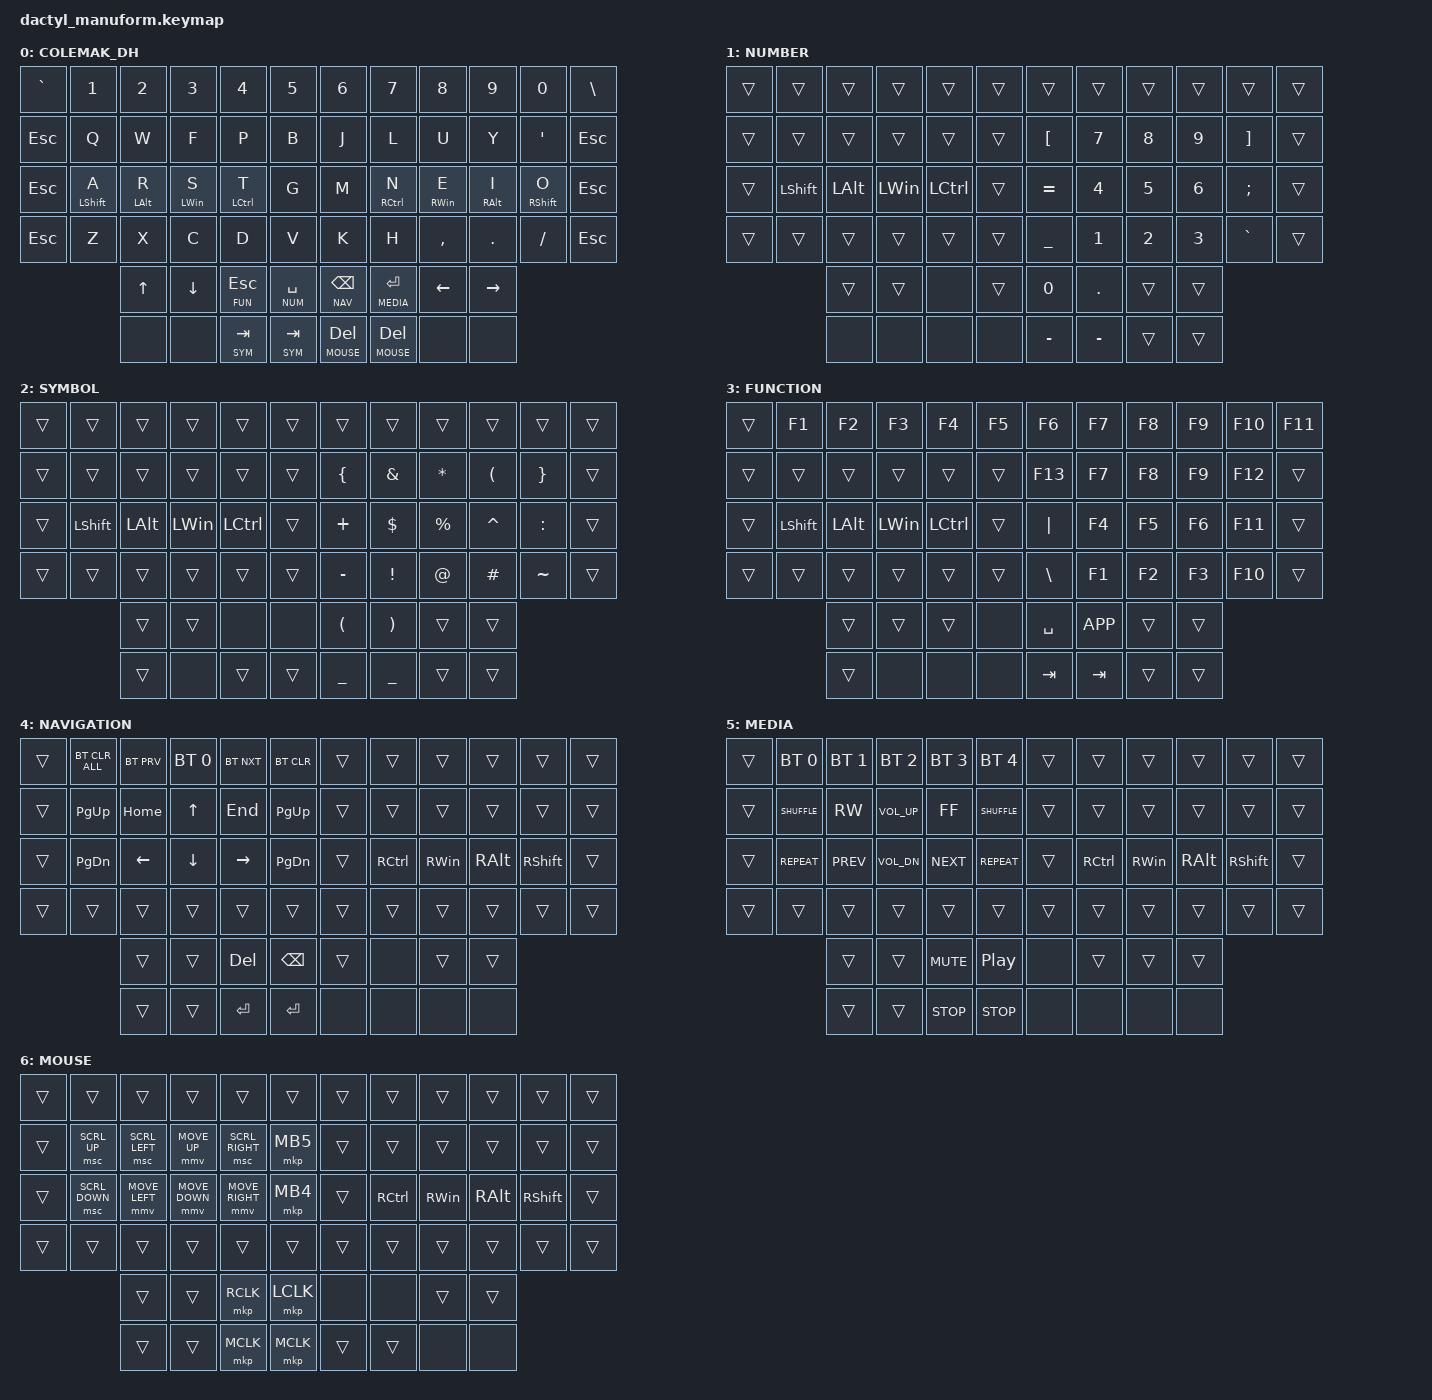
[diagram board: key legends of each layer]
#define ZMK_POINTING_DEFAULT_MOVE_VAL 1200
#define ZMK_POINTING_DEFAULT_SCRL_VAL 20

#include <behaviors.dtsi>
#include <dt-bindings/zmk/keys.h>
#include <dt-bindings/zmk/bt.h>
#include <dt-bindings/zmk/pointing.h>

#define BASE 0
#define NUM 1
#define SYM 2
#define FUN 3
#define NAV 4
#define MEDIA 5
#define MOUSE 6

&sl {
    release-after-ms = <5000>;
};

&kscan0 {
    debounce-press-ms = <30>;
    debounce-release-ms = <30>;
};

/ {
    behaviors {
        hm: homerow_mods {
            compatible = "zmk,behavior-hold-tap";
            #binding-cells = <2>;
            tapping-term-ms = <200>;
            flavor = "tap-preferred";
            bindings = <&kp>, <&kp>;
        };
    };

	keymap {
		compatible = "zmk,keymap";

		default_layer {
			display-name = "COLEMAK_DH";
			bindings = <
&kp GRAVE  &kp N1        &kp N2       &kp N3      &kp N4          &kp N5               &kp N6         &kp N7         &kp N8          &kp N9       &kp N0        &kp BSLH
&kp ESC    &kp Q         &kp W        &kp F       &kp P           &kp B                &kp J          &kp L          &kp U           &kp Y        &kp APOS      &kp ESC
&kp ESC    &hm LSHIFT A  &hm LALT R   &hm LWIN S  &hm LCTRL T     &kp G                &kp M          &hm RCTRL N    &hm RWIN E      &hm RALT I   &hm RSHIFT O  &kp ESC
&kp ESC    &kp Z         &kp X        &kp C       &kp D           &kp V                &kp K          &kp H          &kp COMMA       &kp DOT      &kp FSLH      &kp ESC
                         &kp UP       &kp DOWN    &lt FUN ESC     &lt NUM SPACE        &lt NAV BSPC   &lt MEDIA RET  &kp LEFT        &kp RIGHT
                         &none        &none       &lt SYM TAB     &lt SYM TAB          &lt MOUSE DEL  &lt MOUSE DEL  &none           &none
            >;
        };

		num_layer {
			display-name = "NUMBER";
			bindings = <
&trans  &trans      &trans     &trans    &trans    &trans           &trans     &trans     &trans   &trans  &trans     &trans
&trans  &trans      &trans     &trans    &trans    &trans           &kp LBKT   &kp N7     &kp N8   &kp N9  &kp RBKT   &trans
&trans  &kp LSHIFT  &kp LALT   &kp LWIN  &kp LCTRL &trans           &kp EQUAL  &kp N4     &kp N5   &kp N6  &kp SEMI   &trans
&trans  &trans      &trans     &trans    &trans    &trans           &kp UNDER  &kp N1     &kp N2   &kp N3  &kp GRAVE  &trans
                    &trans     &trans    &none     &trans           &kp N0     &kp DOT    &trans   &trans
                    &none      &none     &none     &none            &kp MINUS  &kp MINUS  &trans   &trans
			>;
		};

        sym_layer {
            display-name = "SYMBOL";
            bindings = <
&trans  &trans      &trans     &trans    &trans    &trans           &trans     &trans     &trans     &trans      &trans     &trans
&trans  &trans      &trans     &trans    &trans    &trans           &kp LBRC   &kp AMPS   &kp STAR   &kp LPAR    &kp RBRC   &trans
&trans  &kp LSHIFT  &kp LALT   &kp LWIN  &kp LCTRL &trans           &kp PLUS   &kp DLLR   &kp PRCNT  &kp CARET   &kp COLON  &trans
&trans  &trans      &trans     &trans    &trans    &trans           &kp MINUS  &kp EXCL   &kp AT     &kp HASH    &kp TILDE  &trans
                    &trans     &trans    &none     &none            &kp LPAR   &kp RPAR   &trans     &trans
                    &trans     &none     &trans    &trans           &kp UNDER  &kp UNDER  &trans     &trans
            >;
        };

        fun_layer {
            display-name = "FUNCTION";
            bindings = <
&trans  &kp F1      &kp F2     &kp F3    &kp F4    &kp F5           &kp F6     &kp F7     &kp F8   &kp F9  &kp F10  &kp F11
&trans  &trans      &trans     &trans    &trans    &trans           &kp F13    &kp F7     &kp F8   &kp F9  &kp F12  &trans
&trans  &kp LSHIFT  &kp LALT   &kp LWIN  &kp LCTRL &trans           &kp PIPE   &kp F4     &kp F5   &kp F6  &kp F11  &trans
&trans  &trans      &trans     &trans    &trans    &trans           &kp BSLH   &kp F1     &kp F2   &kp F3  &kp F10  &trans
                    &trans     &trans    &trans    &none            &kp SPACE  &kp K_APP  &trans   &trans
                    &trans     &none     &none     &none            &kp TAB    &kp TAB    &trans   &trans
            >;
        };

        nav_layer {
            display-name = "NAVIGATION";
            bindings = <
&trans  &bt BT_CLR_ALL  &bt BT_PRV  &bt BT_SEL 0  &bt BT_NXT  &bt BT_CLR          &trans  &trans    &trans    &trans     &trans      &trans
&trans  &kp PG_UP       &kp HOME    &kp UP        &kp END     &kp PG_UP           &trans  &trans    &trans    &trans     &trans      &trans
&trans  &kp PG_DN       &kp LEFT    &kp DOWN      &kp RIGHT   &kp PG_DN           &trans  &kp RCTRL &kp RWIN  &kp RALT   &kp RSHIFT  &trans
&trans  &trans          &trans      &trans        &trans      &trans              &trans  &trans    &trans    &trans     &trans      &trans
                        &trans      &trans        &kp DEL     &kp BSPC            &trans  &none     &trans    &trans
                        &trans      &trans        &kp RET     &kp RET             &none   &none     &none     &none
            >;
        };

        media_layer {
            display-name = "MEDIA";
            bindings = <
&trans  &bt BT_SEL 0   &bt BT_SEL 1  &bt BT_SEL 2  &bt BT_SEL 3  &bt BT_SEL 4            &trans  &trans    &trans    &trans     &trans      &trans
&trans  &kp C_SHUFFLE  &kp C_RW      &kp C_VOL_UP  &kp C_FF      &kp C_SHUFFLE           &trans  &trans    &trans    &trans     &trans      &trans
&trans  &kp C_REPEAT   &kp C_PREV    &kp C_VOL_DN  &kp C_NEXT    &kp C_REPEAT            &trans  &kp RCTRL &kp RWIN  &kp RALT   &kp RSHIFT  &trans
&trans  &trans         &trans        &trans        &trans        &trans                  &trans  &trans    &trans    &trans     &trans      &trans
                       &trans        &trans        &kp C_MUTE    &kp C_PP                &none   &trans    &trans    &trans
                       &trans        &trans        &kp C_STOP    &kp C_STOP              &none   &none     &none     &none
            >;
        };

        mouse_layer {
            display-name = "MOUSE";
            bindings = <
&trans  &trans          &trans          &trans          &trans           &trans           &trans  &trans    &trans    &trans     &trans      &trans
&trans  &msc SCRL_UP    &msc SCRL_LEFT  &mmv MOVE_UP    &msc SCRL_RIGHT  &mkp MB5         &trans  &trans    &trans    &trans     &trans      &trans
&trans  &msc SCRL_DOWN  &mmv MOVE_LEFT  &mmv MOVE_DOWN  &mmv MOVE_RIGHT  &mkp MB4         &trans  &kp RCTRL &kp RWIN  &kp RALT   &kp RSHIFT  &trans
&trans  &trans          &trans          &trans          &trans           &trans           &trans  &trans    &trans    &trans     &trans      &trans
                        &trans          &trans          &mkp RCLK        &mkp LCLK        &none   &none     &trans    &trans
                        &trans          &trans          &mkp MCLK        &mkp MCLK        &trans  &trans    &none     &none
            >;
        };

	};
};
